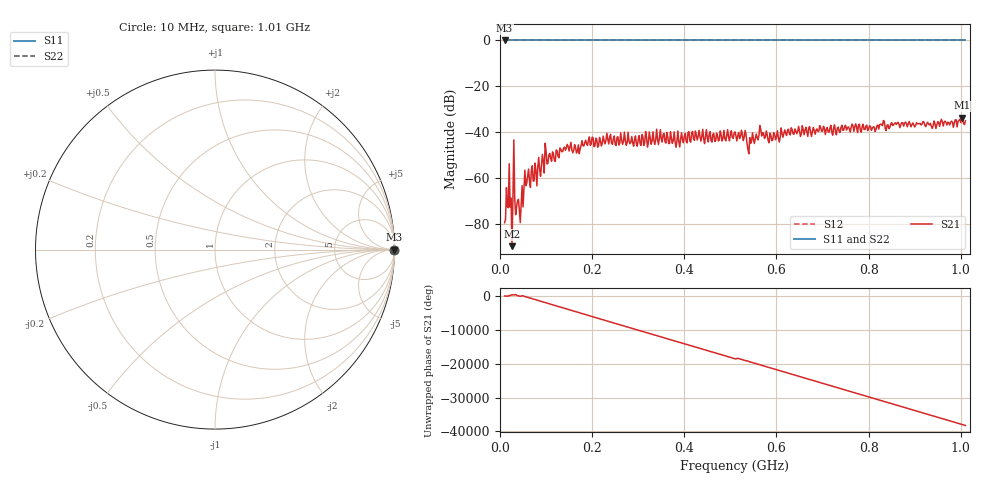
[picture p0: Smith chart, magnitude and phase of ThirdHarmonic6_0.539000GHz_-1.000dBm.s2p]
! 8/15/2025 4:54:59 PM
! C:\ANRITSUVNA\TEMP\TEMP.S2P
! CHANNEL.1
! TR.MEASUREMENT
! RAW.DATA
! RF.CORRECTION.OFF
! AVERAGING.OFF
! IF.BANDWIDTH: 5KHZ
! SWEEPTYPE:  FREQ.SWEEP(Linear)
! Reference Plane Port Info
! PORT:  PORT1  PORT2
! DISTANCE:  0  m  0  m
! TIME:  0  s  0  s
! PHASE.OFFSET:  0  deg.  0  deg.
! LOSS:  0  dB  0  dB
! REF.LOSS:  0  dB  0  dB
! REF.FREQ:  0  Hz  0  Hz
! Power Info
! POWER:  -20  dBm  -20  dBm
! EFF.POWER:  -20  dBm  -20  dBm
! SOURCE.ATTEN:  0  dB  0  dB
! TEST.ATTEN:  0  dB  0  dB
# GHZ S RI R 50.0
! FREQ.GHZ  S11RE  S11IM  S21RE  S21IM  S12RE  S12IM  S22RE  S22IM
!; PortSelection: Port_12
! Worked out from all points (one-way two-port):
!   501 points, 10 MHz to 1.01 GHz, reference 50 ohm
!   highest |S21| = -33.70 dB at 1.002 GHz (marker M1); lowest = -89.7 dB at 26 MHz (marker M2)
!   lowest |S11| = 0.0 dB at 10 MHz (marker M3)
!   |S11| at or under -10 dB: nowhere
!   |S22| runs from 0.0 to 0.0 dB; largest |S21 - S12| = 1
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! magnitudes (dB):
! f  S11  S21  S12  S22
! 10 MHz  0.0  -79.5  0.0  0.0
! 14 MHz  0.0  -64.2  0.0  0.0
! 16 MHz  0.0  -72.5  0.0  0.0
! 26 MHz  0.0  -89.7  0.0  0.0
! 34 MHz  0.0  -76.0  0.0  0.0
! 36 MHz  0.0  -72.5  0.0  0.0
! 42 MHz  0.0  -73.9  0.0  0.0
! 46 MHz  0.0  -71.4  0.0  0.0
! 58 MHz  0.0  -62.2  0.0  0.0
! 76 MHz  0.0  -53.5  0.0  0.0
! 96 MHz  0.0  -57.8  0.0  0.0
! 178 MHz  0.0  -43.7  0.0  0.0
! 344 MHz  0.0  -45.4  0.0  0.0
! 510 MHz  0.0  -39.8  0.0  0.0
! 528 MHz  0.0  -43.7  0.0  0.0
! 540 MHz  0.0  -49.4  0.0  0.0
! 568 MHz  0.0  -41.7  0.0  0.0
! 586 MHz  0.0  -40.4  0.0  0.0
! 678 MHz  0.0  -39.6  0.0  0.0
! 844 MHz  0.0  -38.4  0.0  0.0
! 1.002 GHz  0.0  -33.7  0.0  0.0
! 1.01 GHz  0.0  -35.0  0.0  0.0
